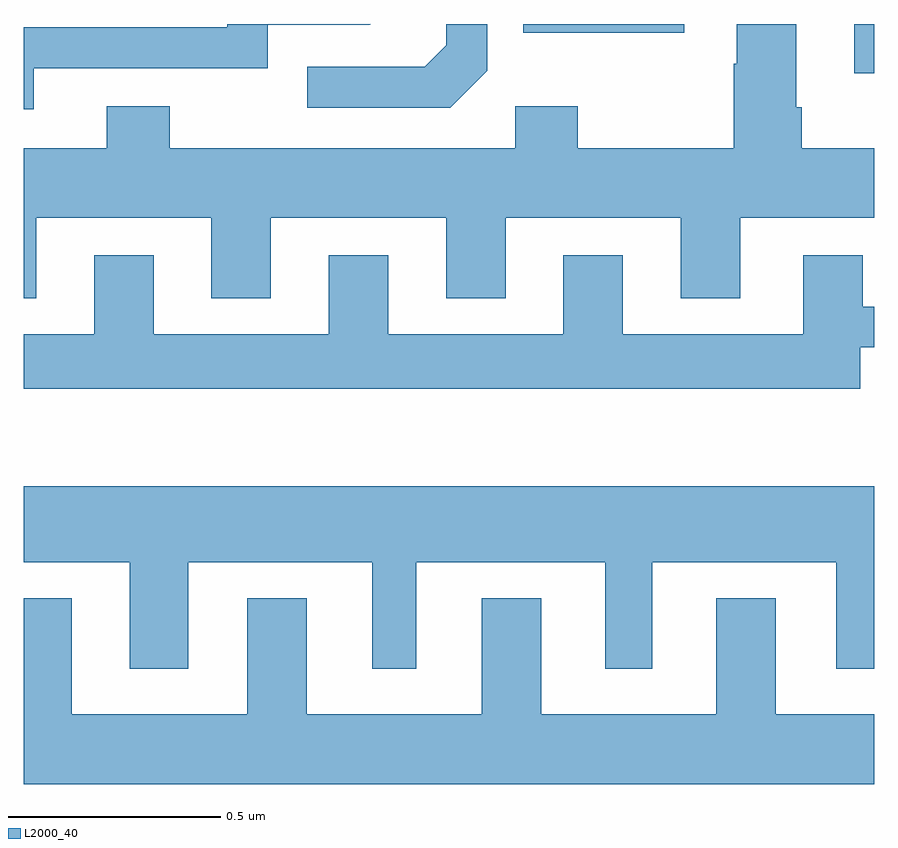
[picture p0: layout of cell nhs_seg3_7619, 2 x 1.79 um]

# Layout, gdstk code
import gdstk
lib = gdstk.Library(unit=1e-6, precision=1e-09)
def R(c, l, rs):  # rectangles x0, y0, x1, y1
    for r in rs: c.add(gdstk.rectangle(r[:2], r[2:], *l))
def P(c, l, *ps):  # polygons
    for p in ps: c.add(gdstk.Polygon(p, *l))
L2000_40 = (2000, 40)

nhs_seg3_7619 = lib.new_cell('nhs_seg3_7619')
R(nhs_seg3_7619, L2000_40, [(207.953,673.284,208,673.4), (207.175,673.379,207.553,673.4)])
P(nhs_seg3_7619, L2000_40, [(207.09,673.29),(207.09,673.4),(206.994,673.4),(206.994,673.35),(206.943,673.299),(206.667,673.299),(206.667,673.203),(207.003,673.203)],
  [(206.023,673.296),(206.574,673.296),(206.574,673.398),(206.814,673.398),(206.816,673.4),(206.478,673.4),(206.478,673.392),(206,673.392),(206,673.2),(206.023,673.2)],
  [(207.817,673.204),(207.817,673.4),(207.677,673.4),(207.677,673.307),(207.67,673.307),(207.67,673.108),(207.303,673.108),(207.303,673.207),(207.156,673.207),(207.156,673.108),(206.343,673.108),(206.343,673.207),(206.195,673.207),(206.195,673.108),(206,673.108),(206,672.755),(206.029,672.755),(206.029,672.944),(206.441,672.944),(206.441,672.755),(206.581,672.755),(206.581,672.944),(206.993,672.944),(206.993,672.755),(207.133,672.755),(207.133,672.944),(207.545,672.944),(207.545,672.755),(207.685,672.755),(207.685,672.944),(208,672.944),(208,673.108),(207.83,673.108),(207.83,673.204)],
  [(207.967,672.639),(208,672.639),(208,672.735),(207.973,672.735),(207.973,672.856),(207.833,672.856),(207.833,672.67),(207.409,672.67),(207.409,672.856),(207.269,672.856),(207.269,672.67),(206.857,672.67),(206.857,672.856),(206.717,672.856),(206.717,672.67),(206.305,672.67),(206.305,672.856),(206.165,672.856),(206.165,672.67),(206,672.67),(206,672.542),(207.967,672.542)],
  [(206.386,672.134),(206.819,672.134),(206.819,671.883),(206.923,671.883),(206.923,672.134),(207.368,672.134),(207.368,671.883),(207.478,671.883),(207.478,672.134),(207.911,672.134),(207.911,671.883),(208,671.883),(208,672.313),(206,672.313),(206,672.134),(206.249,672.134),(206.249,671.883),(206.386,671.883)],
  [(208,671.776),(207.769,671.776),(207.769,672.049),(207.629,672.049),(207.629,671.776),(207.217,671.776),(207.217,672.049),(207.077,672.049),(207.077,671.776),(206.665,671.776),(206.665,672.049),(206.525,672.049),(206.525,671.776),(206.113,671.776),(206.113,672.049),(206,672.049),(206,671.612),(208,671.612)])

lib.write_gds('nhs_seg3_7619.gds')
